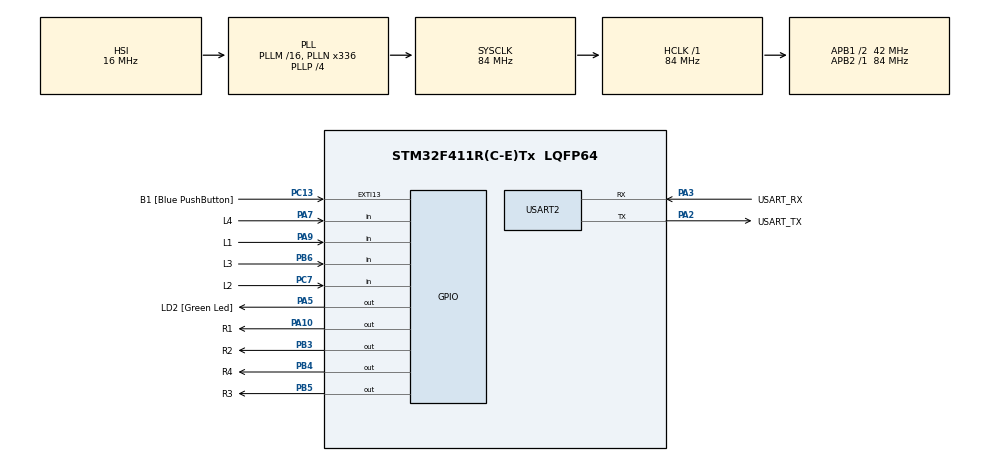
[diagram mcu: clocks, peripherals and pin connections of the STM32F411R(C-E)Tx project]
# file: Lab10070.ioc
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Mcu.Family=STM32F4
Mcu.Name=STM32F411R(C-E)Tx
Mcu.Package=LQFP64
NVIC.PriorityGroup=NVIC_PRIORITYGROUP_0
PA10.GPIO_Label=R1
PA10.GPIO_ModeDefaultOutputPP=GPIO_MODE_OUTPUT_OD
PA10.GPIO_PuPd=GPIO_NOPULL
PA10.PinState=GPIO_PIN_SET
PA10.Signal=GPIO_Output
PA13.GPIO_Label=TMS
PA13.Mode=Serial_Wire
PA13.Signal=SYS_JTMS-SWDIO
PA14.GPIO_Label=TCK
PA14.Mode=Serial_Wire
PA14.Signal=SYS_JTCK-SWCLK
PA2.GPIO_Label=USART_TX
PA2.Mode=Asynchronous
PA2.Signal=USART2_TX
PA3.GPIO_Label=USART_RX
PA3.Mode=Asynchronous
PA3.Signal=USART2_RX
PA5.GPIO_Label=LD2 [Green Led]
PA5.Signal=GPIO_Output
PA7.GPIO_Label=L4
PA7.GPIO_PuPd=GPIO_PULLUP
PA7.Signal=GPIO_Input
PA9.GPIO_Label=L1
PA9.GPIO_PuPd=GPIO_PULLUP
PA9.Signal=GPIO_Input
PB3.GPIO_Label=R2
PB3.GPIO_ModeDefaultOutputPP=GPIO_MODE_OUTPUT_OD
PB3.GPIO_PuPd=GPIO_NOPULL
PB3.PinState=GPIO_PIN_SET
PB3.Signal=GPIO_Output
PB4.GPIO_Label=R4
PB4.GPIO_ModeDefaultOutputPP=GPIO_MODE_OUTPUT_OD
PB4.GPIO_PuPd=GPIO_NOPULL
PB4.PinState=GPIO_PIN_SET
PB4.Signal=GPIO_Output
PB5.GPIO_Label=R3
PB5.GPIO_ModeDefaultOutputPP=GPIO_MODE_OUTPUT_OD
PB5.GPIO_PuPd=GPIO_NOPULL
PB5.PinState=GPIO_PIN_SET
PB5.Signal=GPIO_Output
PB6.GPIO_Label=L3
PB6.GPIO_PuPd=GPIO_PULLUP
PB6.Signal=GPIO_Input
PC13-ANTI_TAMP.GPIO_Label=B1 [Blue PushButton]
PC13-ANTI_TAMP.GPIO_ModeDefaultEXTI=GPIO_MODE_IT_FALLING
PC13-ANTI_TAMP.Signal=GPXTI13
PC14-OSC32_IN.Mode=LSE-External-Oscillator
PC14-OSC32_IN.Signal=RCC_OSC32_IN
PC15-OSC32_OUT.Mode=LSE-External-Oscillator
PC15-OSC32_OUT.Signal=RCC_OSC32_OUT
PC7.GPIO_Label=L2
PC7.GPIO_PuPd=GPIO_PULLUP
PC7.Signal=GPIO_Input
PH0\ -\ OSC_IN.Mode=HSE-External-Clock-Source
PH0\ -\ OSC_IN.Signal=RCC_OSC_IN
PH1\ -\ OSC_OUT.Mode=HSE-External-Clock-Source
PH1\ -\ OSC_OUT.Signal=RCC_OSC_OUT
ProjectManager.HeapSize=0x200
ProjectManager.StackSize=0x400
ProjectManager.TargetToolchain=STM32CubeIDE
RCC.48MHZClocksFreq_Value=84000000
RCC.AHBFreq_Value=84000000
RCC.APB1CLKDivider=RCC_HCLK_DIV2
RCC.APB1Freq_Value=42000000
RCC.APB1TimFreq_Value=84000000
RCC.APB2Freq_Value=84000000
RCC.APB2TimFreq_Value=84000000
RCC.CortexFreq_Value=84000000
RCC.FLatency-AdvancedSettings=FLASH_LATENCY_2
RCC.HCLKFreq_Value=84000000
RCC.HSE_VALUE=8000000
RCC.HSI_VALUE=16000000
RCC.PLLN=336
RCC.PLLP=RCC_PLLP_DIV4
RCC.SYSCLKFreq_VALUE=84000000
RCC.SYSCLKSource=RCC_SYSCLKSOURCE_PLLCLK
RCC.VCOOutputFreq_Value=336000000
USART2.VirtualMode=VM_ASYNC
board=NUCLEO-F411RE

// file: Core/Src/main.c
/* USER CODE BEGIN Header */
/**
  ******************************************************************************
  * @file           : main.c
  * @brief          : Main program body
  ******************************************************************************
  * @attention
  *
  * Copyright (c) 2023 STMicroelectronics.
  * All rights reserved.
  *
  * This software is licensed under terms that can be found in the LICENSE file
  * in the root directory of this software component.
  * If no LICENSE file comes with this software, it is provided AS-IS.
  *
  ******************************************************************************
  */
/* USER CODE END Header */
#include "main.h"

/* USER CODE BEGIN Includes */
// ภาณุพสุ ปานเพ็ชร70
/* USER CODE END Includes */

UART_HandleTypeDef huart2;

/* USER CODE BEGIN PV */
typedef struct _PortPin
{
	GPIO_TypeDef* PORT;
	uint16_t PIN;
} PortPin;

//declare PortPin R,L
PortPin R[4] =
{
		{GPIOA,GPIO_PIN_10},
		{GPIOB,GPIO_PIN_3},
		{GPIOB,GPIO_PIN_5},
		{GPIOB,GPIO_PIN_4}
};

PortPin L[4] =
{
		{GPIOA,GPIO_PIN_9},
		{GPIOC,GPIO_PIN_7},
		{GPIOB,GPIO_PIN_6},
		{GPIOA,GPIO_PIN_7}
};

//For Button Contenter
//ประ�?าศตัว�?ปร
uint16_t ButtonMatrix=0;
uint16_t BttM_C = 0;
uint16_t BttM_L = 0;
uint16_t Vari = 0;
uint16_t state = 0;
uint16_t Value[11];
/* USER CODE END PV */

void SystemClock_Config(void);
static void MX_GPIO_Init(void);
static void MX_USART2_UART_Init(void);

int main(void)
{

  /* MCU Configuration--------------------------------------------------------*/

  /* Reset of all peripherals, Initializes the Flash interface and the Systick. */
  HAL_Init();

  /* Configure the system clock */
  SystemClock_Config();

  /* Initialize all configured peripherals */
  MX_GPIO_Init();
  MX_USART2_UART_Init();

  /* Infinite loop */
  while (1)
  {

    /* USER CODE BEGIN 3 */
	  //Call function every 10 ms = 100Hz
	  	  static uint32_t timestamp=0;
	  	  if(HAL_GetTick()>=timestamp)
	  	  {
	  		  timestamp =HAL_GetTick() + 10;
	  		  ReadMatrixButton_1Row();
	  		  BttM_C = ButtonMatrix;

	  	  }
	  	 if(BttM_L == 0 && BttM_C != 0){
	  	                 Vari = 1;
	  	                }
	  	                else{
	  	                	Vari = 0;
	  	                }
	  	                BttM_L = BttM_C;

	  	              switch(state)
	  	                  {
	  	              //case 0 -----------------------------------------------
	  	              case 0:
	  	                   if(ButtonMatrix == 512 & Vari == 1)
	  	                   {
	  	                    Value[0] = 6;
	  	                    state = 1;
	  	                   }
	  	                   else if(ButtonMatrix != 512 & Vari == 1)
	  	                     {
	  	                     state = 13;
	  	                     }
	  	                   break ;
	  	              // case 1 ---------------------------------------------------
	  	              case 1:
	  	                          if(ButtonMatrix == 2 & Vari == 1)
	  	                          {
	  	                       Value[1] = 4;
	  	                       state = 2;
	  	                       }
	  	                          else if (ButtonMatrix != 2 & Vari == 1)
	  	                          {
	  	                           state = 13;
	  	                       }
	  	                          break ;
	  	               //case 2---------------------------------------------------------
	  	                 case 2:
	  	                     if (ButtonMatrix == 1024 & Vari == 1) {
	  	                    	Value[2] = 3;
	  	                      state = 3;
	  	                     }
	  	                     else if (ButtonMatrix != 1024 & Vari == 1)
	  	                     {
	  	                      state = 13;
	  	                     }
	  	                     break ;
	  	                   //case 3---------------------------------------------------------
	  	                 case 3:
	  	                     if (ButtonMatrix == 2 & Vari == 1) {
	  	                    	Value[3] = 4;
	  	                      state = 4;
	  	                     } else if (ButtonMatrix != 8 & Vari == 1)
	  	                     {
	  	                      state = 13;
	  	                     }
	  	                     break ;
	  	                   //case 4---------------------------------------------------------
	  	                    case 4:
	  	                     if (ButtonMatrix == 8 & Vari == 1) {
	  	                    	Value[4] = 0;
	  	                      state = 5;
	  	                     }
	  	                     else if (ButtonMatrix != 32 & Vari == 1)
	  	                     {
	  	                      state = 13;
	  	                     }
	  	                     break ;
	  	                   //case 5---------------------------------------------------------
	  	                    case 5:
	  	                     if (ButtonMatrix == 32 & Vari == 1) {
	  	                    	Value[5] = 5;
	  	                      state = 6;
	  	                     }
	  	                     else if (ButtonMatrix != 8 & Vari == 1)
	  	                     {
	  	                      state = 13;
	  	                     }
	  	                     break ;
	  	                   //case 6---------------------------------------------------------
	  	                    case 6:
	  	                     if (ButtonMatrix == 8 & Vari == 1) {
	  	                    	Value[6] = 0;
	  	                      state = 7;
	  	                     }
	  	                     else if (ButtonMatrix != 8 & Vari == 1)
	  	                     {
	  	                      state = 13;
	  	                     }
	  	                     break ;
	  	                   //case 7---------------------------------------------------------
	  	                    case 7:
	  	                     if (ButtonMatrix == 8 & Vari == 1) {
	  	                    	Value[7] = 0;
	  	                      state = 8;
	  	                     }
	  	                     else if (ButtonMatrix != 8 & Vari == 1)
	  	                     {
	  	                      state = 13;
	  	                     }
	  	                     break ;
	  	                   //case 8---------------------------------------------------------
	  	                    case 8:
	  	                     if (ButtonMatrix == 8 & Vari == 1) {
	  	                    	Value[8] = 0;
	  	                      state = 9;
	  	                     }
	  	                     else if (ButtonMatrix != 512 & Vari == 1)
	  	                     {
	  	                      state = 13;
	  	                     }
	  	                     break ;
	  	                   //case 9---------------------------------------------------------
	  	                    case 9:
	  	                     if (ButtonMatrix == 1 & Vari == 1) {
	  	                    	Value[9] = 7;
	  	                      state = 10;
	  	                     } else if (ButtonMatrix != 16 & Vari == 1)
	  	                     {
	  	                      state = 13;
	  	                     }
	  	                     break ;
	  	                     // case 10 ------------------------------------
	  	                    case 10:
	  	                   if (ButtonMatrix == 8 & Vari == 1) {
	  	                   	 Value[10] = 0;
	  	                   	 state = 11;
	  	                   	 } else if (ButtonMatrix != 16 & Vari == 1)
	  	                   	 {
	  	                   	  state = 13;
	  	                   	 }
	  	                   	 break ;
	  	                     //--------------------------------- state 0k----------------------
	  	                    case 11:
	  	                     if (ButtonMatrix == 32768 & Vari == 1)
	  	                     {
	  	                      state = 12;
	  	                     } else if (ButtonMatrix != 32768 & Vari == 1)
	  	                     {
	  	                      state = 13;
	  	                     }
	  	                     break ;
	  	                    //------------------------------state clear----------------------------------
	  	                    case 12:
	  	                    	HAL_GPIO_WritePin(GPIOA, GPIO_PIN_5, GPIO_PIN_SET);
	  	                     if (ButtonMatrix == 4096 & Vari == 1)
	  	                     {
	  	                      state = 0;
	  	                    HAL_GPIO_WritePin(GPIOA, GPIO_PIN_5, GPIO_PIN_RESET);
	  	                     }
	  	                     break ;
	  	                    case 13:
	  	                     if (ButtonMatrix == 4096 & Vari == 1)
	  	                     {
	  	                      state = 0;
	  	                      Value[0] = 0;
	  	                      Value[1] = 0;
	  	                      Value[2] = 0;
	  	                      Value[3] = 0;
	  	                      Value[4] = 0;
	  	                      Value[5] = 0;
	  	                      Value[6] = 0;
	  	                      Value[7] = 0;
	  	                      Value[8] = 0;
	  	                      Value[9] = 0;
	  	                      Value[10] = 0;
	  	                     }
	  	                     break ;
	  	                  }

  }
  /* USER CODE END 3 */
}

void SystemClock_Config(void)
{
  RCC_OscInitTypeDef RCC_OscInitStruct = {0};
  RCC_ClkInitTypeDef RCC_ClkInitStruct = {0};

  /** Configure the main internal regulator output voltage
  */
  __HAL_RCC_PWR_CLK_ENABLE();
  __HAL_PWR_VOLTAGESCALING_CONFIG(PWR_REGULATOR_VOLTAGE_SCALE1);

  /** Initializes the RCC Oscillators according to the specified parameters
  * in the RCC_OscInitTypeDef structure.
  */
  RCC_OscInitStruct.OscillatorType = RCC_OSCILLATORTYPE_HSI;
  RCC_OscInitStruct.HSIState = RCC_HSI_ON;
  RCC_OscInitStruct.HSICalibrationValue = RCC_HSICALIBRATION_DEFAULT;
  RCC_OscInitStruct.PLL.PLLState = RCC_PLL_ON;
  RCC_OscInitStruct.PLL.PLLSource = RCC_PLLSOURCE_HSI;
  RCC_OscInitStruct.PLL.PLLM = 16;
  RCC_OscInitStruct.PLL.PLLN = 336;
  RCC_OscInitStruct.PLL.PLLP = RCC_PLLP_DIV4;
  RCC_OscInitStruct.PLL.PLLQ = 4;
  if (HAL_RCC_OscConfig(&RCC_OscInitStruct) != HAL_OK)
  {
    Error_Handler();
  }

  /** Initializes the CPU, AHB and APB buses clocks
  */
  RCC_ClkInitStruct.ClockType = RCC_CLOCKTYPE_HCLK|RCC_CLOCKTYPE_SYSCLK
                              |RCC_CLOCKTYPE_PCLK1|RCC_CLOCKTYPE_PCLK2;
  RCC_ClkInitStruct.SYSCLKSource = RCC_SYSCLKSOURCE_PLLCLK;
  RCC_ClkInitStruct.AHBCLKDivider = RCC_SYSCLK_DIV1;
  RCC_ClkInitStruct.APB1CLKDivider = RCC_HCLK_DIV2;
  RCC_ClkInitStruct.APB2CLKDivider = RCC_HCLK_DIV1;

  if (HAL_RCC_ClockConfig(&RCC_ClkInitStruct, FLASH_LATENCY_2) != HAL_OK)
  {
    Error_Handler();
  }
}

static void MX_USART2_UART_Init(void)
{

  huart2.Instance = USART2;
  huart2.Init.BaudRate = 115200;
  huart2.Init.WordLength = UART_WORDLENGTH_8B;
  huart2.Init.StopBits = UART_STOPBITS_1;
  huart2.Init.Parity = UART_PARITY_NONE;
  huart2.Init.Mode = UART_MODE_TX_RX;
  huart2.Init.HwFlowCtl = UART_HWCONTROL_NONE;
  huart2.Init.OverSampling = UART_OVERSAMPLING_16;
  if (HAL_UART_Init(&huart2) != HAL_OK)
  {
    Error_Handler();
  }

}

static void MX_GPIO_Init(void)
{
  GPIO_InitTypeDef GPIO_InitStruct = {0};

  /* GPIO Ports Clock Enable */
  __HAL_RCC_GPIOC_CLK_ENABLE();
  __HAL_RCC_GPIOH_CLK_ENABLE();
  __HAL_RCC_GPIOA_CLK_ENABLE();
  __HAL_RCC_GPIOB_CLK_ENABLE();

  /*Configure GPIO pin Output Level */
  HAL_GPIO_WritePin(LD2_GPIO_Port, LD2_Pin, GPIO_PIN_RESET);

  /*Configure GPIO pin Output Level */
  HAL_GPIO_WritePin(R1_GPIO_Port, R1_Pin, GPIO_PIN_SET);

  /*Configure GPIO pin Output Level */
  HAL_GPIO_WritePin(GPIOB, R2_Pin|R4_Pin|R3_Pin, GPIO_PIN_SET);

  /*Configure GPIO pin : B1_Pin */
  GPIO_InitStruct.Pin = B1_Pin;
  GPIO_InitStruct.Mode = GPIO_MODE_IT_FALLING;
  GPIO_InitStruct.Pull = GPIO_NOPULL;
  HAL_GPIO_Init(B1_GPIO_Port, &GPIO_InitStruct);

  /*Configure GPIO pin : LD2_Pin */
  GPIO_InitStruct.Pin = LD2_Pin;
  GPIO_InitStruct.Mode = GPIO_MODE_OUTPUT_PP;
  GPIO_InitStruct.Pull = GPIO_NOPULL;
  GPIO_InitStruct.Speed = GPIO_SPEED_FREQ_LOW;
  HAL_GPIO_Init(LD2_GPIO_Port, &GPIO_InitStruct);

  /*Configure GPIO pins : L4_Pin L1_Pin */
  GPIO_InitStruct.Pin = L4_Pin|L1_Pin;
  GPIO_InitStruct.Mode = GPIO_MODE_INPUT;
  GPIO_InitStruct.Pull = GPIO_PULLUP;
  HAL_GPIO_Init(GPIOA, &GPIO_InitStruct);

  /*Configure GPIO pin : L2_Pin */
  GPIO_InitStruct.Pin = L2_Pin;
  GPIO_InitStruct.Mode = GPIO_MODE_INPUT;
  GPIO_InitStruct.Pull = GPIO_PULLUP;
  HAL_GPIO_Init(L2_GPIO_Port, &GPIO_InitStruct);

  /*Configure GPIO pin : R1_Pin */
  GPIO_InitStruct.Pin = R1_Pin;
  GPIO_InitStruct.Mode = GPIO_MODE_OUTPUT_OD;
  GPIO_InitStruct.Pull = GPIO_NOPULL;
  GPIO_InitStruct.Speed = GPIO_SPEED_FREQ_LOW;
  HAL_GPIO_Init(R1_GPIO_Port, &GPIO_InitStruct);

  /*Configure GPIO pins : R2_Pin R4_Pin R3_Pin */
  GPIO_InitStruct.Pin = R2_Pin|R4_Pin|R3_Pin;
  GPIO_InitStruct.Mode = GPIO_MODE_OUTPUT_OD;
  GPIO_InitStruct.Pull = GPIO_NOPULL;
  GPIO_InitStruct.Speed = GPIO_SPEED_FREQ_LOW;
  HAL_GPIO_Init(GPIOB, &GPIO_InitStruct);

  /*Configure GPIO pin : L3_Pin */
  GPIO_InitStruct.Pin = L3_Pin;
  GPIO_InitStruct.Mode = GPIO_MODE_INPUT;
  GPIO_InitStruct.Pull = GPIO_PULLUP;
  HAL_GPIO_Init(L3_GPIO_Port, &GPIO_InitStruct);

}

/* USER CODE BEGIN 4 */
void ReadMatrixButton_1Row()
{
	//
	static uint8_t X = 0;

	//READ L1-L4
	register int i;
	for(i=0;i<4;i++)
	{
		if(HAL_GPIO_ReadPin(L[i].PORT, L[i].PIN))
		{
			ButtonMatrix &= ~(1<<(X*4+i));

		}
		else
		{
			ButtonMatrix |= 1<<(X*4+i);

		}

	}
	//SET RX
	HAL_GPIO_WritePin(R[X].PORT, R[X].PIN, 1);
	//RESET RX+1%4
	HAL_GPIO_WritePin(R[(X+1)%4].PORT, R[(X+1)%4].PIN, 0);
	X++;
	X%=4;
}
/* USER CODE END 4 */

void Error_Handler(void)
{
  __disable_irq();
  while (1)
  {
  }
}
